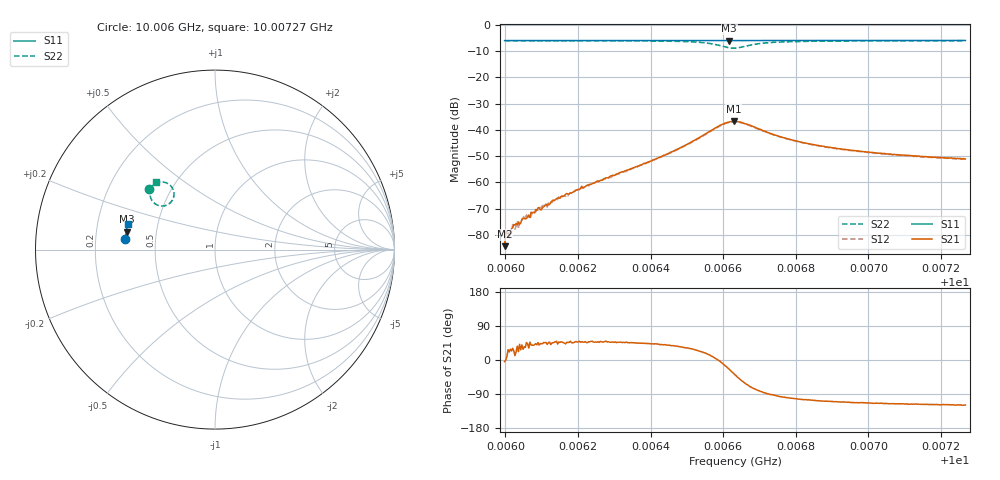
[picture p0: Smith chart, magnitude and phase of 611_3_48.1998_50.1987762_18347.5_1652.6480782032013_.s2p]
#  HZ  S  RI  R  50.00
! Rohde & Schwarz Vector Network Analyzer
! Rohde-Schwarz,ZNB20-2Port,1311601062101988,3.16
! Created: UTC 3/20/2024, 12:03:31 PM
! freq[Hz]  re:S11  im:S11  re:S21  im:S21  re:S12  im:S12  re:S22  im:S22
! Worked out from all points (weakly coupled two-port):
!   401 points, 10.006 GHz to 10.00727 GHz, reference 50 ohm
!   highest |S21| = -36.70 dB at 10.00663 GHz (marker M1); lowest = -84.3 dB at 10.006 GHz (marker M2)
!   lowest |S11| = -6.0 dB at 10.00662 GHz (marker M3), VSWR 3.02, Z = 16.7 + j4.47 ohm
!   |S11| at or under -10 dB: nowhere
!   |S22| runs from -8.9 to -6.0 dB; largest |S21 - S12| = 0.001
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1.0005998e10  -0.4994 0.0604  6.08e-05 -4.33e-06  6.65e-05 9.96e-06  -0.3682 0.3359
1.0006011e10  -0.4993 0.0612  8.63e-05 3.34e-05  8.63e-05 -4.09e-06  -0.3674 0.3367
1.0006023e10  -0.4992 0.0621  0.000144 6.3e-05  0.000101 8.16e-05  -0.3668 0.3377
1.0006042e10  -0.499 0.0632  0.00015 7.6e-05  0.000174 7.77e-05  -0.3656 0.3388
1.0006046e10  -0.4991 0.0635  0.000152 0.000127  0.000153 0.000111  -0.3653 0.3391
1.0006058e10  -0.4989 0.0643  0.000142 0.000147  0.000156 0.000183  -0.3646 0.34
1.0006068e10  -0.499 0.0649  0.000145 0.000157  0.000154 0.000135  -0.364 0.3406
1.0006087e10  -0.4988 0.0662  0.000223 0.000187  0.000231 0.000186  -0.3628 0.3418
1.0006125e10  -0.4985 0.0687  0.000314 0.00027  0.000277 0.000325  -0.3604 0.3445
1.0006211e10  -0.4978 0.0743  0.000561 0.000628  0.000492 0.000596  -0.3537 0.351
1.0006423e10  -0.4959 0.0882  0.00222 0.00197  0.00207 0.00202  -0.3256 0.3703
1.0006499e10  -0.495 0.0933  0.00445 0.00276  0.00423 0.00293  -0.2996 0.3764
1.0006553e10  -0.494 0.0966  0.00814 0.00253  0.0078 0.00283  -0.263 0.368
1.0006617e10  -0.4926 0.1001  0.0129 -0.00586  0.0129 -0.00501  -0.2343 0.2815
1.0006629e10  -0.4926 0.1006  0.0118 -0.00866  0.012 -0.00774  -0.2506 0.2596
1.0006633e10  -0.4925 0.1006  0.0113 -0.00911  0.0116 -0.00832  -0.2558 0.2553
1.0006658e10  -0.4926 0.102  0.00668 -0.0114  0.0073 -0.0111  -0.3026 0.2431
1.0006706e10  -0.4928 0.1051  0.00112 -0.00989  0.00149 -0.00964  -0.3511 0.2736
1.0006772e10  -0.4922 0.1095  -0.00107 -0.00682  -0.000722 -0.00679  -0.3615 0.3103
1.0006845e10  -0.4915 0.1143  -0.00148 -0.00506  -0.00125 -0.00508  -0.3584 0.3314
1.0007058e10  -0.4886 0.1279  -0.0015 -0.00314  -0.0013 -0.00312  -0.3438 0.3593
1.0007267e10  -0.4853 0.1411  -0.00134 -0.00245  -0.00121 -0.00247  -0.3312 0.3746
